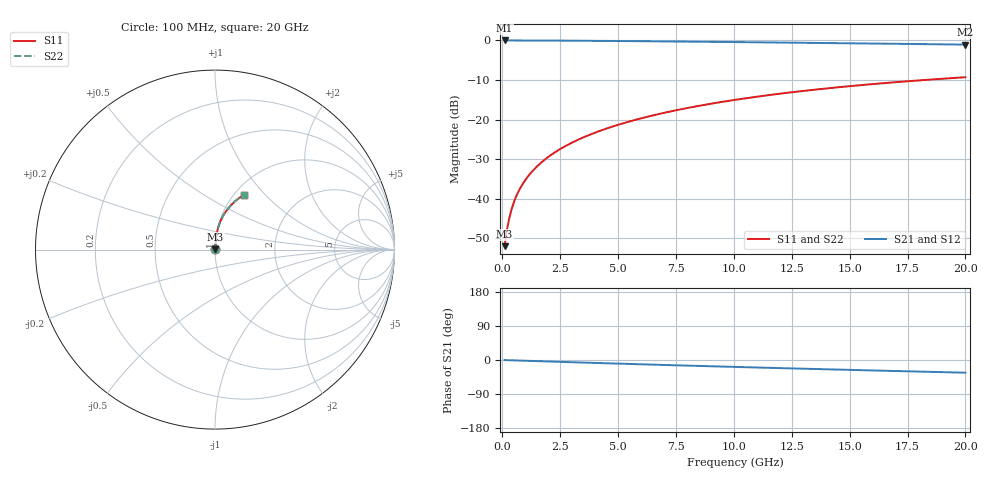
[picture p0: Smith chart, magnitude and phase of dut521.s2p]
! Touchstone file exported from HFSS 2024.1.0
!  File:  C:/UserFiles/LocalFiles/RDL_TSV_Batchsim/temp_RDL_bottom_521_1779688087.aedt
!  Generated:  01:50:41 PM May 25, 2026
!  Design:  RDL_bottom
!  Project:  temp_RDL_bottom_521_1779688087
!  Setup:  Setup1
!  Solution:  Sweep
! Variables:
!  dtsv = 10.80580581um
!  hbump = 3um
!  htsv = 90.13um
!  ldown = 439.37um
!  lrdl = 100um
!  p = 40
!  p1 = 55.33um
!  rhole = 1um
!  t = 450um
!  tdown = 4.78um
!  trdl = 3.915915916um
!  wdown = 20.19um
!  wrdl = 20um
# GHz S MA R 50.000000
! Terminal data exported
! Port[1] = RDL1_T1
! Port[2] = RDL1_T2
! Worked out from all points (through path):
!   200 points, 100 MHz to 20 GHz, reference 50 ohm
!   highest |S21| = -0.02 dB at 100 MHz (marker M1); lowest = -1.1 dB at 20 GHz (marker M2)
!   group delay of S21, straight-line fit = 4.61 ps
!   lowest |S11| = -52.0 dB at 100 MHz (marker M3), VSWR 1.01, Z = 50.2 + j0.18 ohm
!   |S11| at or under -10 dB: start of sweep to 18.24 GHz
!   |S22| runs from -52.0 to -9.3 dB; largest |S21 - S12| = 2.6e-15
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0.1  0.002515 45.6  0.9982 -0.2  0.9982 -0.2  0.002515 45.6
! Gamma 0 0 0 0
! Port Impedance 50 0 50 0
0.2  0.004014 63.1  0.9981 -0.4  0.9981 -0.4  0.004014 63.1
0.3  0.005666 70.4  0.998 -0.6  0.998 -0.6  0.005666 70.4
0.4  0.007347 74.2  0.9979 -0.8  0.9979 -0.8  0.007347 74.2
0.5  0.009025 76.6  0.9978 -1.0  0.9978 -1.0  0.009025 76.6
0.7  0.01236 79.3  0.9975 -1.4  0.9975 -1.4  0.01236 79.3
0.8  0.01402 80.2  0.9974 -1.6  0.9974 -1.6  0.01402 80.2
1  0.01732 81.6  0.9971 -2.0  0.9971 -2.0  0.01732 81.6
1.2  0.02063 82.5  0.9968 -2.4  0.9968 -2.4  0.02063 82.5
1.4  0.02395 83.2  0.9964 -2.8  0.9964 -2.8  0.02395 83.2
1.7  0.02895 83.9  0.9958 -3.4  0.9958 -3.4  0.02895 83.9
2  0.03397 84.4  0.995 -3.9  0.995 -3.9  0.03397 84.4
2.7  0.04581 84.8  0.9928 -5.3  0.9928 -5.3  0.04581 84.8
3.5  0.05953 84.8  0.9897 -6.8  0.9897 -6.8  0.05953 84.8
4.2  0.07171 84.6  0.9866 -8.1  0.9866 -8.1  0.07171 84.6
5  0.08582 84.0  0.9826 -9.6  0.9826 -9.6  0.08582 84.0
6.8  0.1182 82.2  0.9726 -12.8  0.9726 -12.8  0.1182 82.2
8.4  0.1473 80.2  0.9629 -15.5  0.9629 -15.5  0.1473 80.2
10.1  0.1783 77.7  0.9522 -18.4  0.9522 -18.4  0.1783 77.7
13.4  0.2369 72.6  0.9304 -23.6  0.9304 -23.6  0.2369 72.6
16.7  0.292 67.4  0.9078 -28.7  0.9078 -28.7  0.292 67.4
20  0.3426 62.3  0.8845 -33.5  0.8845 -33.5  0.3426 62.4
